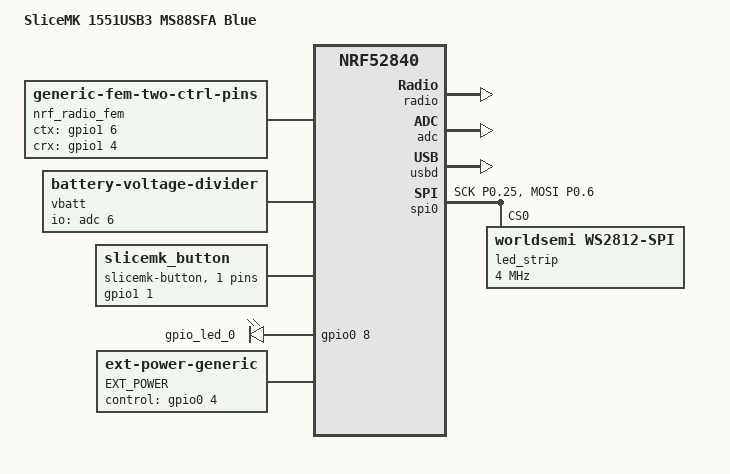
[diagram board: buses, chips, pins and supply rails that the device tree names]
/dts-v1/;
#include <nordic/nrf52840_qiaa.dtsi>

#include <dt-bindings/led/led.h>

/ {
    model = "SliceMK 1551USB3 MS88SFA Blue";

    chosen {
        zephyr,code-partition = &code_partition;
        zephyr,sram = &sram0;
        zephyr,flash = &flash0;
        zephyr,console = &cdc_acm_uart;

        zmk,battery = &vbatt;
        zmk,backlight = &backlight;
        zmk,underglow = &led_strip;
    };

    // Define PA/LNA.
    nrf_radio_fem: fem {
        compatible = "generic-fem-two-ctrl-pins";
        ctx-gpios = <&gpio1 6 0>;
        ctx-settle-time-us = <1>;
        crx-gpios = <&gpio1 4 0>;
        crx-settle-time-us = <1>;
    };

    vbatt: vbatt {
        compatible = "zmk,battery-voltage-divider";
        io-channels = <&adc 6>;
        output-ohms = <680>;
        full-ohms = <(680 + 680)>;
    };

    // The dongle doesn't have a button beside the reset button but ZMK needs
    // something to be defined for kscan. A pin that is not broken out is
    // specified here to avoid conflicting with custom user integration using
    // the breakout pins.
    slicemk_button: slicemk_button {
        compatible = "slicemk-button";
        #gpio-cells = <2>;
        gpio-map-mask = <0xffffffff 0xffffffc0>;
        gpio-map-pass-thru = <0 0x3f>;
        gpio-map = <0 0 &gpio1 1 0>;
    };

    // Use backlight to control TP4056 charger.
    backlight: gpioleds {
        compatible = "gpio-leds";
        gpio_led_0 {
            gpios = <&gpio0 8 GPIO_ACTIVE_HIGH>;
        };
    };

    EXT_POWER {
        compatible = "zmk,ext-power-generic";
        control-gpios = <&gpio0 4 GPIO_ACTIVE_HIGH>;
        init-delay-ms = <50>;
    };
};

&radio {
    fem = <&nrf_radio_fem>;
};

&adc {
    status = "okay";
};

&gpiote {
    status = "okay";
};

&gpio0 {
    status = "okay";
};

&gpio1 {
    status = "okay";
};

&uicr {
    gpio-as-nreset;
    nfct-pins-as-gpios;
};

&usbd {
    status = "okay";
    cdc_acm_uart: cdc_acm_uart {
        compatible = "zephyr,cdc-acm-uart";
    };
};

&flash0 {
    partitions {
        compatible = "fixed-partitions";
        #address-cells = <1>;
        #size-cells = <1>;

        // Application starts at 0x1000 after the MBR.
        code_partition: partition@1000 {
            reg = <0x00001000 0x000e9000>;
        };

        // Define storage partition before the bootloader, which starts at
        // 0xf4000. The storage partition has been 10 pages since Adafruit
        // bootloader version 0.6.0.
        storage_partition: partition@ea000 {
            reg = <0x000ea000 0x0000a000>;
        };
    };
};

&pinctrl {
    // Define an arbitrary unused pin for SCK as it's required for SPI. Define
    // MOSI pin for LED data.
    spi0_default: spi0_default {
        group1 {
            psels =
                <NRF_PSEL(SPIM_SCK, 0, 25)>,
                <NRF_PSEL(SPIM_MOSI, 0, 6)>;
        };
    };
};

&spi0 {
    compatible = "nordic,nrf-spim";
    status = "okay";
    pinctrl-0 = <&spi0_default>;
    pinctrl-names = "default";

    led_strip: ws2812@0 {
        compatible = "worldsemi,ws2812-spi";
        reg = <0>;
        spi-max-frequency = <4000000>;
        chain-length = <4>;
        color-mapping = <LED_COLOR_ID_GREEN LED_COLOR_ID_RED LED_COLOR_ID_BLUE>;
        spi-one-frame = <0x70>;
        spi-zero-frame = <0x40>;
    };
};
